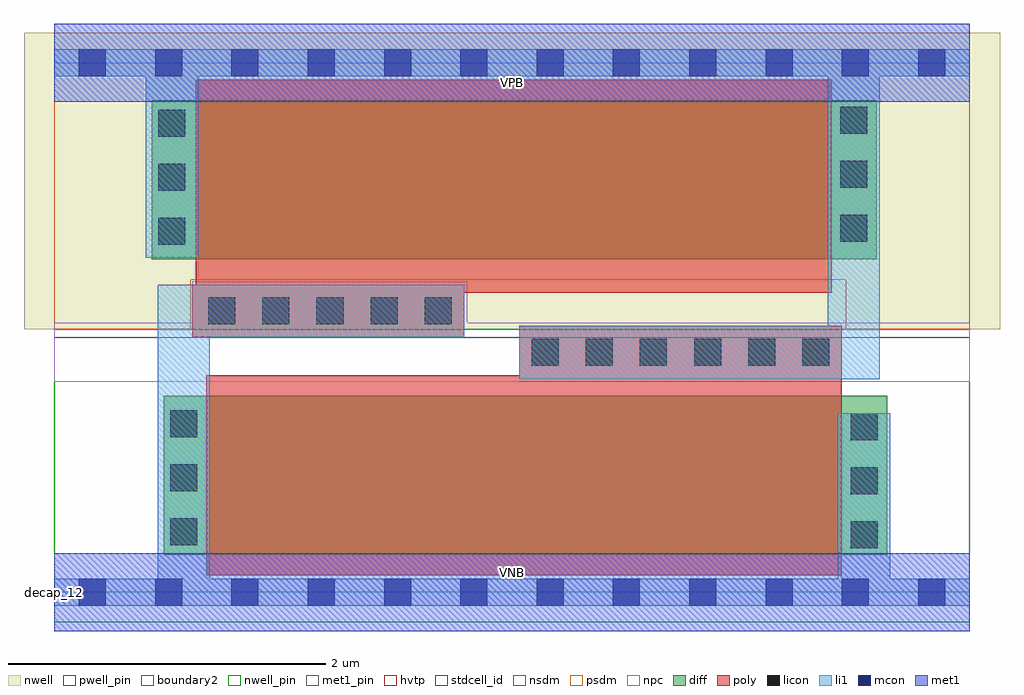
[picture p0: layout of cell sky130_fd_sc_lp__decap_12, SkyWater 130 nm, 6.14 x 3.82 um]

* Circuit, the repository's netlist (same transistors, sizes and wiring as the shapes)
* Copyright 2020 The SkyWater PDK Authors
*
* Licensed under the Apache License, Version 2.0 (the "License");
* you may not use this file except in compliance with the License.
* You may obtain a copy of the License at
*
*     https://www.apache.org/licenses/LICENSE-2.0
*
* Unless required by applicable law or agreed to in writing, software
* distributed under the License is distributed on an "AS IS" BASIS,
* WITHOUT WARRANTIES OR CONDITIONS OF ANY KIND, either express or implied.
* See the License for the specific language governing permissions and
* limitations under the License.
*
* SPDX-License-Identifier: Apache-2.0

.SUBCKT sky130_fd_sc_lp__decap_12 VGND VNB VPB VPWR
*.PININFO VGND:I VNB:I VPB:I VPWR:I
MI1 VGND VPWR VGND VNB sky130_fd_pr__nfet_01v8 m=1 w=1.0U l=4.0U mult=1 sa=0.265
+ sb=0.265 sd=0.28 area=0.063 perim=1.14
MI2 VPWR VGND VPWR VPB sky130_fd_pr__pfet_01v8_hvt m=1 w=1.0U l=4.0U mult=1 sa=0.265
+ sb=0.265 sd=0.28 area=0.063 perim=1.14
.ENDS sky130_fd_sc_lp__decap_12

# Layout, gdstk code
import gdstk
lib = gdstk.Library(unit=1e-6, precision=1e-09)
def R(c, l, rs):  # rectangles x0, y0, x1, y1
    for r in rs: c.add(gdstk.rectangle(r[:2], r[2:], *l))
def A(c, l, x, y, w, h, nx, ny, dx, dy):  # array of equal rectangles
    R(c, l, [(x+i*dx, y+j*dy, x+i*dx+w, y+j*dy+h) for i in range(nx) for j in range(ny)])
def P(c, l, *ps):  # polygons
    for p in ps: c.add(gdstk.Polygon(p, *l))
nwell_pin = (64, 16)
nwell = (64, 20)
diff = (65, 20)
poly = (66, 20)
licon = (66, 44)
li1 = (67, 20)
mcon = (67, 44)
met1_pin = (68, 16)
met1 = (68, 20)
hvtp = (78, 44)
stdcell_id = (81, 4)
nsdm = (93, 44)
psdm = (94, 20)
npc = (95, 20)
pwell_pin = (122, 16)
boundary2 = (236, 0)

sky130_fd_sc_lp__decap_1 = lib.new_cell('sky130_fd_sc_lp__decap_12')
R(sky130_fd_sc_lp__decap_1, nwell_pin, [(0,3.085,5.76,3.33)])
R(sky130_fd_sc_lp__decap_1, nwell, [(-0.19,1.655,5.95,3.52)])
R(sky130_fd_sc_lp__decap_1, diff, [(0.69,0.235,5.24,1.235), (0.615,2.095,5.175,3.095)])
P(sky130_fd_sc_lp__decap_1, poly, [(4.955,1.675),(2.925,1.675),(2.925,1.365),(0.955,1.365),(0.955,0.105),(4.955,0.105)],
  [(4.89,3.225),(0.89,3.225),(0.89,1.935),(0.87,1.935),(0.87,1.605),(2.58,1.605),(2.58,1.885),(4.89,1.885)])
A(sky130_fd_sc_lp__decap_1, licon, 5.01, 0.275, 0.17, 0.17, 1, 3, 0, 0.34)
A(sky130_fd_sc_lp__decap_1, licon, 0.73, 0.295, 0.17, 0.17, 1, 3, 0, 0.34)
A(sky130_fd_sc_lp__decap_1, licon, 3.005, 1.425, 0.17, 0.17, 6, 1, 0.34, 0)
A(sky130_fd_sc_lp__decap_1, licon, 0.97, 1.685, 0.17, 0.17, 5, 1, 0.34, 0)
A(sky130_fd_sc_lp__decap_1, licon, 0.655, 2.185, 0.17, 0.17, 1, 3, 0, 0.34)
A(sky130_fd_sc_lp__decap_1, licon, 4.945, 2.205, 0.17, 0.17, 1, 3, 0, 0.34)
R(sky130_fd_sc_lp__decap_1, li1, [(4.93,0.055,5.26,1.125)])
P(sky130_fd_sc_lp__decap_1, li1, [(5.76,0.085),(0.98,0.085),(0.98,1.605),(2.58,1.605),(2.58,1.935),(0.65,1.935),(0.65,0.085),(0,0.085),(0,-0.085),(5.76,-0.085)],
  [(5.76,3.415),(0,3.415),(0,3.245),(0.575,3.245),(0.575,2.105),(0.905,2.105),(0.905,3.245),(4.865,3.245),(4.865,1.675),(2.925,1.675),(2.925,1.34),(5.195,1.34),(5.195,3.245),(5.76,3.245)])
A(sky130_fd_sc_lp__decap_1, mcon, 0.155, -0.085, 0.17, 0.17, 12, 2, 0.48, 3.33)
R(sky130_fd_sc_lp__decap_1, met1_pin, [(0,0,5.76,0.245), (0,3.085,5.76,3.33)])
R(sky130_fd_sc_lp__decap_1, met1, [(0,-0.245,5.76,0.245), (0,3.085,5.76,3.575)])
R(sky130_fd_sc_lp__decap_1, hvtp, [(0,1.6,5.76,3.33)])
R(sky130_fd_sc_lp__decap_1, stdcell_id, [(0,0,5.76,3.33)])
R(sky130_fd_sc_lp__decap_1, nsdm, [(0,-0.19,5.76,1.655)])
P(sky130_fd_sc_lp__decap_1, psdm, [(5.76,3.52),(0,3.52),(0,1.655),(0.86,1.655),(0.86,1.965),(4.98,1.965),(4.98,1.655),(5.76,1.655)])
P(sky130_fd_sc_lp__decap_1, npc, [(5.76,1.695),(2.6,1.695),(2.6,1.955),(0.87,1.955),(0.87,1.695),(0,1.695),(0,1.325),(5.76,1.325)])
R(sky130_fd_sc_lp__decap_1, pwell_pin, [(0,0,5.76,0.245)])
R(sky130_fd_sc_lp__decap_1, boundary2, [(0,0,5.76,3.33)])
sky130_fd_sc_lp__decap_1.add(gdstk.Label('VNB', (2.88,0.123), layer=64, texttype=59))
sky130_fd_sc_lp__decap_1.add(gdstk.Label('VPB', (2.88,3.208), layer=64, texttype=5))
sky130_fd_sc_lp__decap_1.add(gdstk.Label('decap_12', (0,0), layer=83, texttype=44))
sky130_fd_sc_lp__decap_1.add(gdstk.Label('VGND', (2.88,0.123), layer=68, texttype=5))
sky130_fd_sc_lp__decap_1.add(gdstk.Label('VPWR', (2.88,3.208), layer=68, texttype=5))

lib.write_gds('sky130_fd_sc_lp__decap_12.gds')
